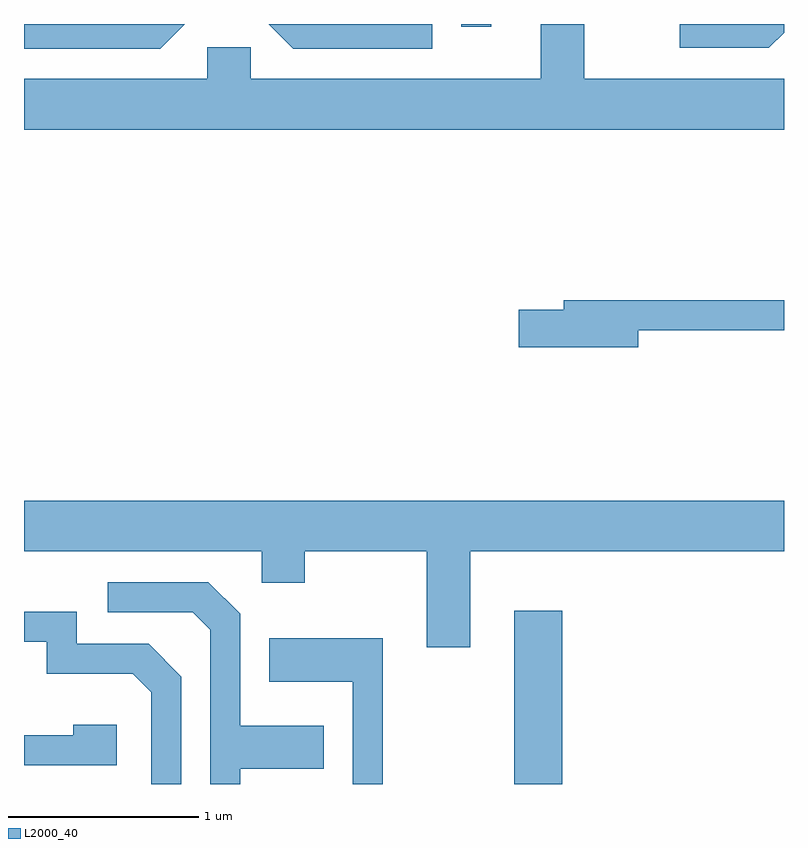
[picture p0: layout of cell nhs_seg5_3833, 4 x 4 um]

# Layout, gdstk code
import gdstk
lib = gdstk.Library(unit=1e-6, precision=1e-09)
def R(c, l, rs):  # rectangles x0, y0, x1, y1
    for r in rs: c.add(gdstk.rectangle(r[:2], r[2:], *l))
def P(c, l, *ps):  # polygons
    for p in ps: c.add(gdstk.Polygon(p, *l))
L2000_40 = (2000, 40)

nhs_seg5_3833 = lib.new_cell('nhs_seg5_3833')
R(nhs_seg5_3833, L2000_40, [(302.191,1400.072,302.444,1400.984), (301.911,1404.058,302.069,1404.072)])
P(nhs_seg5_3833, L2000_40, [(303.611,1403.784),(302.559,1403.784),(302.559,1404.072),(302.331,1404.072),(302.331,1403.784),(300.804,1403.784),(300.804,1403.949),(300.576,1403.949),(300.576,1403.784),(299.611,1403.784),(299.611,1403.516),(303.611,1403.516)],
  [(303.611,1404.025),(303.611,1404.072),(303.063,1404.072),(303.063,1403.946),(303.532,1403.946)],
  [(300.458,1404.072),(299.611,1404.072),(299.611,1403.941),(300.327,1403.941)],
  [(301.759,1404.072),(300.898,1404.072),(301.029,1403.941),(301.759,1403.941)],
  [(302.844,1402.461),(303.611,1402.461),(303.611,1402.619),(302.451,1402.619),(302.451,1402.569),(302.216,1402.569),(302.216,1402.371),(302.844,1402.371)],
  [(301.959,1401.296),(303.611,1401.296),(303.611,1401.564),(299.611,1401.564),(299.611,1401.296),(300.861,1401.296),(300.861,1401.131),(301.089,1401.131),(301.089,1401.296),(301.731,1401.296),(301.731,1400.791),(301.959,1400.791)],
  [(300.749,1400.151),(301.189,1400.151),(301.189,1400.379),(300.749,1400.379),(300.749,1400.967),(300.582,1401.134),(300.053,1401.134),(300.053,1400.976),(300.499,1400.976),(300.591,1400.884),(300.591,1400.072),(300.749,1400.072)],
  [(300.439,1400.637),(300.267,1400.809),(299.889,1400.809),(299.889,1400.979),(299.611,1400.979),(299.611,1400.821),(299.731,1400.821),(299.731,1400.651),(300.184,1400.651),(300.281,1400.554),(300.281,1400.072),(300.439,1400.072)],
  [(301.499,1400.839),(300.901,1400.839),(300.901,1400.611),(301.341,1400.611),(301.341,1400.072),(301.499,1400.072)],
  [(300.099,1400.384),(299.871,1400.384),(299.871,1400.329),(299.611,1400.329),(299.611,1400.171),(300.099,1400.171)])

lib.write_gds('nhs_seg5_3833.gds')
